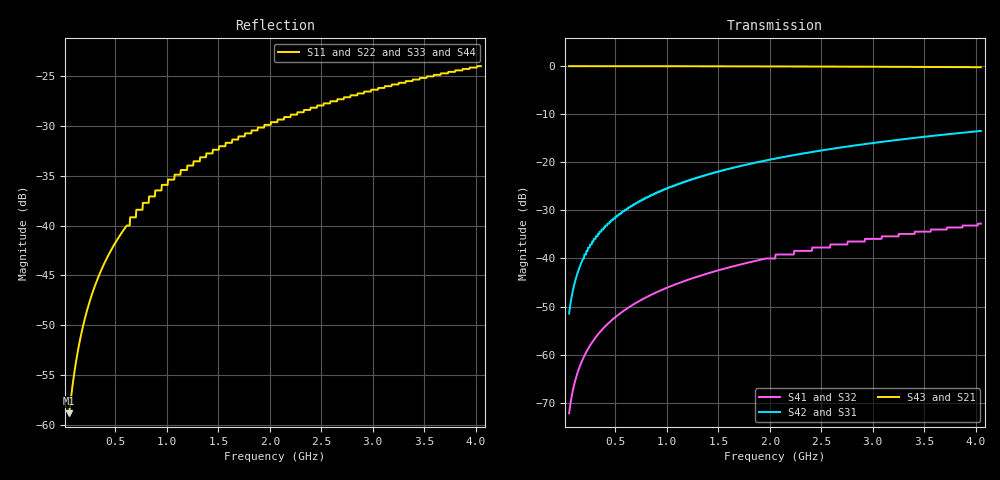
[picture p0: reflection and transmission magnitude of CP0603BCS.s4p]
!	AVX THIN FILM OPERATION
!	CP0603 COUPLERS
!	P/N CP0603BxxxxCSTR
!	Network	Analyzer HP8720ES.07.64:Feb23,2000 Serial No.US39172382
!	Hewlett-Packard
!	23 March 2011
# MHZ S MA  R 50
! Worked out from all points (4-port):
!   1000 points, 50 MHz to 4.05 GHz, reference 50 ohm
!   strongest paths, dB at 50 MHz, 1.051 GHz, 2.052 GHz, 3.053 GHz, 4.05 GHz:
!     S43: 0.0, 0.0, -0.1, -0.1, -0.2
!     S21: 0.0, 0.0, -0.1, -0.1, -0.2
!     S42: -51.4, -25.0, -19.3, -15.9, -13.5
!     S31: -51.4, -25.0, -19.3, -15.9, -13.5
!     S41: -72.2, -45.6, -40.0, -35.9, -32.8
!     S32: -72.2, -45.6, -40.0, -35.9, -32.8
!   lowest |S11| = -58.8 dB at 50 MHz (marker M1), VSWR 1.00, Z = 50.1 - j0.0822 ohm
!   |S11| at or under -10 dB: start of sweep to end of sweep
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50  0.001144 -45.9  0.999 -0.1  0.002678 89.9  0.0002455 89.4
    0.999 -0.1  0.001144 -45.9  0.0002455 89.4  0.002678 89.9
    0.002678 89.9  0.0002455 89.4  0.001144 -45.9  0.999 -0.1
    0.0002455 89.4  0.002678 89.9  0.999 -0.1  0.001144 -45.9
146.096  0.002521 -72.0  0.999 -0.4  0.007826 89.6  0.0007176 88.1
         0.999 -0.4  0.002521 -72.0  0.0007176 88.1  0.007826 89.6
         0.007826 89.6  0.0007176 88.1  0.002521 -72.0  0.999 -0.4
         0.0007176 88.1  0.007826 89.6  0.999 -0.4  0.002521 -72.0
294.244  0.00488 -81.6  0.999 -0.7  0.016 89.3  0.001446 86.2
         0.999 -0.7  0.00488 -81.6  0.001446 86.2  0.016 89.3
         0.016 89.3  0.001446 86.2  0.00488 -81.6  0.999 -0.7
         0.001446 86.2  0.016 89.3  0.999 -0.7  0.00488 -81.6
546.496  0.008972 -86.7  0.999 -1.3  0.029 88.6  0.002692 83.1
         0.999 -1.3  0.008972 -86.7  0.002692 83.1  0.029 88.6
         0.029 88.6  0.002692 83.1  0.008972 -86.7  0.999 -1.3
         0.002692 83.1  0.029 88.6  0.999 -1.3  0.008972 -86.7
910.861  0.015 -90.0  0.998 -2.2  0.049 87.7  0.00451 78.5
         0.998 -2.2  0.015 -90.0  0.00451 78.5  0.049 87.7
         0.049 87.7  0.00451 78.5  0.015 -90.0  0.998 -2.2
         0.00451 78.5  0.049 87.7  0.998 -2.2  0.015 -90.0
2076.026  0.034 -95.5  0.992 -5.0  0.111 84.8  0.011 64.4
          0.992 -5.0  0.034 -95.5  0.011 64.4  0.111 84.8
          0.111 84.8  0.011 64.4  0.034 -95.5  0.992 -5.0
          0.011 64.4  0.111 84.8  0.992 -5.0  0.034 -95.5
4050  0.063 -102.5  0.974 -9.6  0.212 80.1  0.023 43.3
      0.974 -9.6  0.063 -102.5  0.023 43.3  0.212 80.1
      0.212 80.1  0.023 43.3  0.063 -102.5  0.974 -9.6
      0.023 43.3  0.212 80.1  0.974 -9.6  0.063 -102.5
